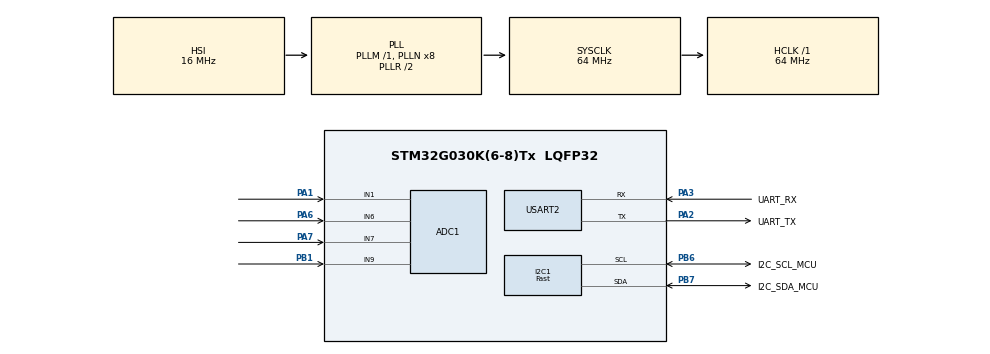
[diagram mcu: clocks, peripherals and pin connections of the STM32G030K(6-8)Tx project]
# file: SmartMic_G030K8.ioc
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ADC1.Channel-0\#ChannelRegularConversion=ADC_CHANNEL_1
ADC1.Channel-1\#ChannelRegularConversion=ADC_CHANNEL_6
ADC1.Channel-2\#ChannelRegularConversion=ADC_CHANNEL_7
ADC1.Channel-3\#ChannelRegularConversion=ADC_CHANNEL_9
ADC1.ClockPrescaler=ADC_CLOCK_ASYNC_DIV10
ADC1.ContinuousConvMode=ENABLE
ADC1.DMAContinuousRequests=ENABLE
ADC1.ExternalTrigConv=ADC_SOFTWARE_START
ADC1.ExternalTrigConvEdge=ADC_EXTERNALTRIGCONVEDGE_NONE
ADC1.LowPowerAutoWait=DISABLE
ADC1.NbrOfConversion=4
ADC1.NbrOfConversionFlag=1
ADC1.Rank-0\#ChannelRegularConversion=1
ADC1.Rank-1\#ChannelRegularConversion=2
ADC1.Rank-2\#ChannelRegularConversion=3
ADC1.Rank-3\#ChannelRegularConversion=4
ADC1.SamplingTime-0\#ChannelRegularConversion=ADC_SAMPLINGTIME_COMMON_1
ADC1.SamplingTime-1\#ChannelRegularConversion=ADC_SAMPLINGTIME_COMMON_1
ADC1.SamplingTime-2\#ChannelRegularConversion=ADC_SAMPLINGTIME_COMMON_1
ADC1.SamplingTime-3\#ChannelRegularConversion=ADC_SAMPLINGTIME_COMMON_1
ADC1.SelectedChannel=ADC_CHANNEL_1|ADC_CHANNEL_6|ADC_CHANNEL_7|ADC_CHANNEL_9
ADC1.master=1
Dma.ADC1.0.Direction=DMA_PERIPH_TO_MEMORY
Dma.ADC1.0.EventEnable=DISABLE
Dma.ADC1.0.Instance=DMA1_Channel1
Dma.ADC1.0.MemDataAlignment=DMA_MDATAALIGN_WORD
Dma.ADC1.0.MemInc=DMA_MINC_ENABLE
Dma.ADC1.0.Mode=DMA_CIRCULAR
Dma.ADC1.0.PeriphDataAlignment=DMA_PDATAALIGN_WORD
Dma.ADC1.0.PeriphInc=DMA_PINC_DISABLE
Dma.ADC1.0.Polarity=HAL_DMAMUX_REQ_GEN_RISING
Dma.ADC1.0.Priority=DMA_PRIORITY_LOW
Dma.ADC1.0.RequestNumber=1
Dma.ADC1.0.SignalID=NONE
Dma.ADC1.0.SyncEnable=DISABLE
Dma.ADC1.0.SyncPolarity=HAL_DMAMUX_SYNC_NO_EVENT
Dma.ADC1.0.SyncRequestNumber=1
Dma.ADC1.0.SyncSignalID=NONE
Dma.Request0=ADC1
I2C1.I2C_Speed_Mode=I2C_Fast
I2C1.Timing=0x00602173
Mcu.Family=STM32G0
Mcu.Name=STM32G030K(6-8)Tx
Mcu.Package=LQFP32
NVIC.DMA1_Channel1_IRQn=true\:0\:0\:false\:false\:true\:false\:true
NVIC.RCC_IRQn=true\:0\:0\:false\:false\:true\:true\:false
NVIC.TIM1_BRK_UP_TRG_COM_IRQn=true\:0\:0\:false\:false\:true\:true\:true
NVIC.USART2_IRQn=true\:0\:0\:false\:false\:true\:true\:true
PA1.Mode=IN1
PA1.Signal=ADC1_IN1
PA2.GPIO_Label=UART_TX
PA2.GPIO_PuPd=GPIO_PULLUP
PA2.GPIO_Speed=GPIO_SPEED_FREQ_VERY_HIGH
PA2.Mode=Asynchronous
PA2.PinState=GPIO_PIN_SET
PA2.Signal=USART2_TX
PA3.GPIO_Label=UART_RX
PA3.GPIO_PuPd=GPIO_PULLUP
PA3.GPIO_Speed=GPIO_SPEED_FREQ_VERY_HIGH
PA3.Mode=Asynchronous
PA3.PinState=GPIO_PIN_SET
PA3.Signal=USART2_RX
PA6.Mode=IN6
PA6.Signal=ADC1_IN6
PA7.Mode=IN7
PA7.Signal=ADC1_IN7
PB1.Mode=IN9
PB1.Signal=ADC1_IN9
PB6.GPIO_Label=I2C_SCL_MCU
PB6.Mode=I2C
PB6.Signal=I2C1_SCL
PB7.GPIO_Label=I2C_SDA_MCU
PB7.Mode=I2C
PB7.Signal=I2C1_SDA
ProjectManager.HeapSize=0x200
ProjectManager.StackSize=0x400
ProjectManager.TargetToolchain=STM32CubeIDE
RCC.ADCFreq_Value=64000000
RCC.AHBFreq_Value=64000000
RCC.CortexFreq_Value=64000000
RCC.EXTERNAL_CLOCK_VALUE=12288000
RCC.HCLKFreq_Value=64000000
RCC.HSE_VALUE=8000000
RCC.HSI_VALUE=16000000
RCC.LSE_VALUE=32768
RCC.SYSCLKFreq_VALUE=64000000
RCC.SYSCLKSource=RCC_SYSCLKSOURCE_PLLCLK
RCC.VCOOutputFreq_Value=128000000
TIM1.AutoReloadPreload=TIM_AUTORELOAD_PRELOAD_ENABLE
TIM1.Period=50
TIM1.Prescaler=64
USART2.VirtualMode-Asynchronous=VM_ASYNC
VP_TIM1_VS_ClockSourceINT.Mode=Internal
board=custom

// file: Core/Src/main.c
/* USER CODE BEGIN Header */
/**
  ******************************************************************************
  * @file           : main.c
  * @brief          : Main program body
  ******************************************************************************
  * @attention
  *
  * <h2><center>&copy; Copyright (c) 2021 STMicroelectronics.
  * All rights reserved.</center></h2>
  *
  * This software component is licensed by ST under BSD 3-Clause license,
  * the "License"; You may not use this file except in compliance with the
  * License. You may obtain a copy of the License at:
  *                        opensource.org/licenses/BSD-3-Clause
  *
  ******************************************************************************
  */
/* USER CODE END Header */
#include "main.h"

/* USER CODE BEGIN Includes */
#include <stdlib.h>
#include <stdio.h>
#include <string.h>
#include <math.h>

#include "IS31FL3237.h"

/* USER CODE END Includes */

/* USER CODE BEGIN PTD */
typedef union {
    unsigned char u8Byte;
    struct{
        unsigned bit0:1;
        unsigned bit1:1;
        unsigned bit2:1;
        unsigned bit3:1;
        unsigned bit4:1;
        unsigned bit5:1;
        unsigned bit6:1;
        unsigned bit7:1;
    } sb;
} xu_flag;

/* USER CODE END PTD */

ADC_HandleTypeDef hadc1;
DMA_HandleTypeDef hdma_adc1;
I2C_HandleTypeDef hi2c1;
TIM_HandleTypeDef htim1;
UART_HandleTypeDef huart2;

/* USER CODE BEGIN PV */
uint8_t Rx_Data_GetCMD_flag = {0},
        Rx_Data_cnt         = {0},
        Rx_Data[256]        = {0},
        Getchar[1]          = {0};

unsigned char isSW5_Headphone_button_Mute = 0;
unsigned char SW6_Pattern_button_ID       = 0;
unsigned char SW2_Preset_button_ID        = 0;

/* USER CODE END PV */

void SystemClock_Config(void);
static void MX_GPIO_Init(void);
static void MX_DMA_Init(void);
static void MX_ADC1_Init(void);
static void MX_USART2_UART_Init(void);
static void MX_I2C1_Init(void);
static void MX_TIM1_Init(void);
/* USER CODE BEGIN PFP */
void Polling_Task_1ms(void);
void Polling_Task_10ms(void);
void Polling_Task_50ms(void);
void Polling_Task_100ms(void);
void Polling_Task_1s(void);
void Task_ButtonGroup(void);
void VR1_PreGain(void);
void VR2_Microphone(void);
void VR3_Mix(void);
void VR4_Headphone(void);
void Task_Preset_LED_GPIO(void);
unsigned char Task_Button(void);

/* USER CODE END PFP */

/* USER CODE BEGIN 0 */
unsigned char u8PresetLED = {0};

extern __IO uint32_t uwTick;
uint32_t             uwTick_Private;
unsigned short       uwTick_10ms  = 0;
unsigned short       uwTick_50ms  = 0;
unsigned short       uwTick_100ms = 0;
unsigned short       uwTick_1s    = 0;

uint32_t ADC_ConvertedValue[4] = {0};
#define  tor    8
#define  s0   372
#define  s1   745
#define  s2   1117
#define  s3   1489
#define  s4   1861
#define  s5   2234
#define  s6   2606
#define  s7   2978
#define  s8   3350
#define  s9   3723
#define ADC_A  ADC_ConvertedValue[0]
#define ADC_B  ADC_ConvertedValue[1]
#define ADC_C  ADC_ConvertedValue[2]
#define ADC_D  ADC_ConvertedValue[3]

/* USER CODE END 0 */

int main(void)
{

  /* MCU Configuration--------------------------------------------------------*/

  /* Reset of all peripherals, Initializes the Flash interface and the Systick. */
  HAL_Init();

  /* Configure the system clock */
  SystemClock_Config();

  /* Initialize all configured peripherals */
  MX_GPIO_Init();
  MX_DMA_Init();
  MX_ADC1_Init();
  MX_USART2_UART_Init();
  MX_I2C1_Init();
  MX_TIM1_Init();
  /* USER CODE BEGIN 2 */
  HAL_ADC_Start_DMA(&hadc1, ADC_ConvertedValue, 4);
  Hal_LED_Driver_Initial();

  //Init SW3/SW4 LED and LED9
  if(1) {
      u8PresetLED = 1;

      LED9        = signle_LED_rgb_G;

      SW3_LED21   = signle_LED_rgb_G;
      SW3_LED19   = signle_LED_rgb_G;
      SW3_LED20   = signle_LED_rgb_G;

      SW4_LED18   = signle_LED_rgb_G;
      SW4_LED16   = signle_LED_rgb_G;
      SW4_LED15   = signle_LED_rgb_G;
  }

  printf("Init Done\r\n");
  /* USER CODE END 2 */

  /* Infinite loop */
  /* USER CODE BEGIN WHILE */
  while (1)
  {
      //Follow systick 1ms
      if(uwTick_Private != uwTick) {
          uwTick_Private++;

          Polling_Task_1ms();

          uwTick_10ms++;
          if(uwTick_10ms>=10) {
              uwTick_10ms = 0;

              Polling_Task_10ms();
          }

          uwTick_50ms++;
          if(uwTick_50ms>=50) {
              uwTick_50ms = 0;

              Polling_Task_50ms();
          }

          uwTick_100ms++;
          if(uwTick_100ms>=100) {
              uwTick_100ms = 0;

              Polling_Task_100ms();
          }

          uwTick_1s++;
          if(uwTick_1s>=1000) {
              uwTick_1s = 0;

              Polling_Task_1s();
          }

      }
    /* USER CODE END WHILE */

  }
}

void SystemClock_Config(void)
{
  RCC_OscInitTypeDef RCC_OscInitStruct = {0};
  RCC_ClkInitTypeDef RCC_ClkInitStruct = {0};
  RCC_PeriphCLKInitTypeDef PeriphClkInit = {0};

  /** Configure the main internal regulator output voltage
  */
  HAL_PWREx_ControlVoltageScaling(PWR_REGULATOR_VOLTAGE_SCALE1);
  /** Initializes the RCC Oscillators according to the specified parameters
  * in the RCC_OscInitTypeDef structure.
  */
  RCC_OscInitStruct.OscillatorType = RCC_OSCILLATORTYPE_HSI;
  RCC_OscInitStruct.HSIState = RCC_HSI_ON;
  RCC_OscInitStruct.HSIDiv = RCC_HSI_DIV1;
  RCC_OscInitStruct.HSICalibrationValue = RCC_HSICALIBRATION_DEFAULT;
  RCC_OscInitStruct.PLL.PLLState = RCC_PLL_ON;
  RCC_OscInitStruct.PLL.PLLSource = RCC_PLLSOURCE_HSI;
  RCC_OscInitStruct.PLL.PLLM = RCC_PLLM_DIV1;
  RCC_OscInitStruct.PLL.PLLN = 8;
  RCC_OscInitStruct.PLL.PLLP = RCC_PLLP_DIV2;
  RCC_OscInitStruct.PLL.PLLR = RCC_PLLR_DIV2;
  if (HAL_RCC_OscConfig(&RCC_OscInitStruct) != HAL_OK)
  {
    Error_Handler();
  }
  /** Initializes the CPU, AHB and APB buses clocks
  */
  RCC_ClkInitStruct.ClockType = RCC_CLOCKTYPE_HCLK|RCC_CLOCKTYPE_SYSCLK
                              |RCC_CLOCKTYPE_PCLK1;
  RCC_ClkInitStruct.SYSCLKSource = RCC_SYSCLKSOURCE_PLLCLK;
  RCC_ClkInitStruct.AHBCLKDivider = RCC_SYSCLK_DIV1;
  RCC_ClkInitStruct.APB1CLKDivider = RCC_HCLK_DIV1;

  if (HAL_RCC_ClockConfig(&RCC_ClkInitStruct, FLASH_LATENCY_2) != HAL_OK)
  {
    Error_Handler();
  }
  /** Initializes the peripherals clocks
  */
  PeriphClkInit.PeriphClockSelection = RCC_PERIPHCLK_I2C1|RCC_PERIPHCLK_ADC;
  PeriphClkInit.I2c1ClockSelection = RCC_I2C1CLKSOURCE_PCLK1;
  PeriphClkInit.AdcClockSelection = RCC_ADCCLKSOURCE_SYSCLK;
  if (HAL_RCCEx_PeriphCLKConfig(&PeriphClkInit) != HAL_OK)
  {
    Error_Handler();
  }
}

static void MX_ADC1_Init(void)
{

  ADC_ChannelConfTypeDef sConfig = {0};

  /** Configure the global features of the ADC (Clock, Resolution, Data Alignment and number of conversion)
  */
  hadc1.Instance = ADC1;
  hadc1.Init.ClockPrescaler = ADC_CLOCK_ASYNC_DIV10;
  hadc1.Init.Resolution = ADC_RESOLUTION_12B;
  hadc1.Init.DataAlign = ADC_DATAALIGN_RIGHT;
  hadc1.Init.ScanConvMode = ADC_SCAN_ENABLE;
  hadc1.Init.EOCSelection = ADC_EOC_SINGLE_CONV;
  hadc1.Init.LowPowerAutoWait = DISABLE;
  hadc1.Init.LowPowerAutoPowerOff = DISABLE;
  hadc1.Init.ContinuousConvMode = ENABLE;
  hadc1.Init.NbrOfConversion = 4;
  hadc1.Init.DiscontinuousConvMode = DISABLE;
  hadc1.Init.ExternalTrigConv = ADC_SOFTWARE_START;
  hadc1.Init.ExternalTrigConvEdge = ADC_EXTERNALTRIGCONVEDGE_NONE;
  hadc1.Init.DMAContinuousRequests = ENABLE;
  hadc1.Init.Overrun = ADC_OVR_DATA_PRESERVED;
  hadc1.Init.SamplingTimeCommon1 = ADC_SAMPLETIME_1CYCLE_5;
  hadc1.Init.SamplingTimeCommon2 = ADC_SAMPLETIME_1CYCLE_5;
  hadc1.Init.OversamplingMode = DISABLE;
  hadc1.Init.TriggerFrequencyMode = ADC_TRIGGER_FREQ_HIGH;
  if (HAL_ADC_Init(&hadc1) != HAL_OK)
  {
    Error_Handler();
  }
  /** Configure Regular Channel
  */
  sConfig.Channel = ADC_CHANNEL_1;
  sConfig.Rank = ADC_REGULAR_RANK_1;
  sConfig.SamplingTime = ADC_SAMPLINGTIME_COMMON_1;
  if (HAL_ADC_ConfigChannel(&hadc1, &sConfig) != HAL_OK)
  {
    Error_Handler();
  }
  /** Configure Regular Channel
  */
  sConfig.Channel = ADC_CHANNEL_6;
  sConfig.Rank = ADC_REGULAR_RANK_2;
  if (HAL_ADC_ConfigChannel(&hadc1, &sConfig) != HAL_OK)
  {
    Error_Handler();
  }
  /** Configure Regular Channel
  */
  sConfig.Channel = ADC_CHANNEL_7;
  sConfig.Rank = ADC_REGULAR_RANK_3;
  if (HAL_ADC_ConfigChannel(&hadc1, &sConfig) != HAL_OK)
  {
    Error_Handler();
  }
  /** Configure Regular Channel
  */
  sConfig.Channel = ADC_CHANNEL_9;
  sConfig.Rank = ADC_REGULAR_RANK_4;
  if (HAL_ADC_ConfigChannel(&hadc1, &sConfig) != HAL_OK)
  {
    Error_Handler();
  }

}

static void MX_I2C1_Init(void)
{

  hi2c1.Instance = I2C1;
  hi2c1.Init.Timing = 0x00602173;
  hi2c1.Init.OwnAddress1 = 0;
  hi2c1.Init.AddressingMode = I2C_ADDRESSINGMODE_7BIT;
  hi2c1.Init.DualAddressMode = I2C_DUALADDRESS_DISABLE;
  hi2c1.Init.OwnAddress2 = 0;
  hi2c1.Init.OwnAddress2Masks = I2C_OA2_NOMASK;
  hi2c1.Init.GeneralCallMode = I2C_GENERALCALL_DISABLE;
  hi2c1.Init.NoStretchMode = I2C_NOSTRETCH_DISABLE;
  if (HAL_I2C_Init(&hi2c1) != HAL_OK)
  {
    Error_Handler();
  }
  /** Configure Analogue filter
  */
  if (HAL_I2CEx_ConfigAnalogFilter(&hi2c1, I2C_ANALOGFILTER_ENABLE) != HAL_OK)
  {
    Error_Handler();
  }
  /** Configure Digital filter
  */
  if (HAL_I2CEx_ConfigDigitalFilter(&hi2c1, 0) != HAL_OK)
  {
    Error_Handler();
  }

}

static void MX_TIM1_Init(void)
{

  TIM_ClockConfigTypeDef sClockSourceConfig = {0};
  TIM_MasterConfigTypeDef sMasterConfig = {0};

  /* USER CODE BEGIN TIM1_Init 1 */

  /*
   * Target to : 64MHz / (64x50) = 20,000 Hz
   * Actually : 64MHz / ( (64+1) x (50+1) ) = 19,306.2 Hz
   */

  /* USER CODE END TIM1_Init 1 */
  htim1.Instance = TIM1;
  htim1.Init.Prescaler = 64;
  htim1.Init.CounterMode = TIM_COUNTERMODE_UP;
  htim1.Init.Period = 50;
  htim1.Init.ClockDivision = TIM_CLOCKDIVISION_DIV1;
  htim1.Init.RepetitionCounter = 0;
  htim1.Init.AutoReloadPreload = TIM_AUTORELOAD_PRELOAD_ENABLE;
  if (HAL_TIM_Base_Init(&htim1) != HAL_OK)
  {
    Error_Handler();
  }
  sClockSourceConfig.ClockSource = TIM_CLOCKSOURCE_INTERNAL;
  if (HAL_TIM_ConfigClockSource(&htim1, &sClockSourceConfig) != HAL_OK)
  {
    Error_Handler();
  }
  sMasterConfig.MasterOutputTrigger = TIM_TRGO_RESET;
  sMasterConfig.MasterOutputTrigger2 = TIM_TRGO2_RESET;
  sMasterConfig.MasterSlaveMode = TIM_MASTERSLAVEMODE_DISABLE;
  if (HAL_TIMEx_MasterConfigSynchronization(&htim1, &sMasterConfig) != HAL_OK)
  {
    Error_Handler();
  }
  /* USER CODE BEGIN TIM1_Init 2 */
  HAL_TIM_Base_Start_IT(&htim1);
  /* USER CODE END TIM1_Init 2 */

}

static void MX_USART2_UART_Init(void)
{

  huart2.Instance = USART2;
  huart2.Init.BaudRate = 115200;
  huart2.Init.WordLength = UART_WORDLENGTH_8B;
  huart2.Init.StopBits = UART_STOPBITS_1;
  huart2.Init.Parity = UART_PARITY_NONE;
  huart2.Init.Mode = UART_MODE_TX_RX;
  huart2.Init.HwFlowCtl = UART_HWCONTROL_NONE;
  huart2.Init.OverSampling = UART_OVERSAMPLING_16;
  huart2.Init.OneBitSampling = UART_ONE_BIT_SAMPLE_DISABLE;
  huart2.Init.ClockPrescaler = UART_PRESCALER_DIV1;
  huart2.AdvancedInit.AdvFeatureInit = UART_ADVFEATURE_NO_INIT;
  if (HAL_UART_Init(&huart2) != HAL_OK)
  {
    Error_Handler();
  }
  /* USER CODE BEGIN USART2_Init 2 */
  HAL_UART_Receive_IT(&huart2, Getchar, 1);
  /* USER CODE END USART2_Init 2 */

}

static void MX_DMA_Init(void)
{

  /* DMA controller clock enable */
  __HAL_RCC_DMA1_CLK_ENABLE();

  /* DMA interrupt init */
  /* DMA1_Channel1_IRQn interrupt configuration */
  HAL_NVIC_SetPriority(DMA1_Channel1_IRQn, 0, 0);
  HAL_NVIC_EnableIRQ(DMA1_Channel1_IRQn);

}

static void MX_GPIO_Init(void)
{
    GPIO_InitTypeDef GPIO_InitStruct = {0};

    if(1) {  //I2C LED Driver EN-GPIO
        #define ON  GPIO_PIN_SET
        #define OFF GPIO_PIN_RESET

        #define IS31FL3237_EN      GPIOA,GPIO_PIN_10
        #define IS31FL3237_EN_port GPIOA
        #define IS31FL3237_EN_pin  GPIO_PIN_10

        /* GPIO Ports Clock Enable */
        __HAL_RCC_GPIOA_CLK_ENABLE();
        __HAL_RCC_GPIOB_CLK_ENABLE();

        /* Configure GPIO pin */
        GPIO_InitStruct.Mode  = GPIO_MODE_OUTPUT_PP;
        GPIO_InitStruct.Pull  = GPIO_NOPULL;
        GPIO_InitStruct.Speed = GPIO_SPEED_FREQ_VERY_HIGH;

        /* Configure LED GPIO pin */
        GPIO_InitStruct.Pin = IS31FL3237_EN_pin; HAL_GPIO_Init(IS31FL3237_EN_port, &GPIO_InitStruct);

        /* Configure GPIO pin Output Level */
        HAL_GPIO_WritePin(IS31FL3237_EN, ON);
    }

    if(1) {
        #define ON  GPIO_PIN_SET
        #define OFF GPIO_PIN_RESET

        #define Preset_LED01      GPIOA,GPIO_PIN_4
        #define Preset_LED01_port GPIOA
        #define Preset_LED01_pin  GPIO_PIN_4

        #define Preset_LED02      GPIOA,GPIO_PIN_5
        #define Preset_LED02_port GPIOA
        #define Preset_LED02_pin  GPIO_PIN_5

        #define Preset_LED03      GPIOA,GPIO_PIN_11
        #define Preset_LED03_port GPIOA
        #define Preset_LED03_pin  GPIO_PIN_11

        #define Preset_LED04      GPIOA,GPIO_PIN_12
        #define Preset_LED04_port GPIOA
        #define Preset_LED04_pin  GPIO_PIN_12

        #define Preset_LED05      GPIOA,GPIO_PIN_15
        #define Preset_LED05_port GPIOA
        #define Preset_LED05_pin  GPIO_PIN_15

        #define Preset_LED06      GPIOB,GPIO_PIN_8
        #define Preset_LED06_port GPIOB
        #define Preset_LED06_pin  GPIO_PIN_8

        #define Preset_LED07      GPIOB,GPIO_PIN_9
        #define Preset_LED07_port GPIOB
        #define Preset_LED07_pin  GPIO_PIN_9

        #define Preset_LED08      GPIOA,GPIO_PIN_0
        #define Preset_LED08_port GPIOA
        #define Preset_LED08_pin  GPIO_PIN_0

        /* GPIO Ports Clock Enable */
        __HAL_RCC_GPIOA_CLK_ENABLE();
        __HAL_RCC_GPIOB_CLK_ENABLE();

        /* Configure GPIO pin */
        GPIO_InitStruct.Mode  = GPIO_MODE_OUTPUT_PP;
        GPIO_InitStruct.Pull  = GPIO_NOPULL;
        GPIO_InitStruct.Speed = GPIO_SPEED_FREQ_VERY_HIGH;

        /* Configure LED GPIO pin */
        GPIO_InitStruct.Pin = Preset_LED01_pin; HAL_GPIO_Init(Preset_LED01_port, &GPIO_InitStruct);
        GPIO_InitStruct.Pin = Preset_LED02_pin; HAL_GPIO_Init(Preset_LED02_port, &GPIO_InitStruct);
        GPIO_InitStruct.Pin = Preset_LED03_pin; HAL_GPIO_Init(Preset_LED03_port, &GPIO_InitStruct);
        GPIO_InitStruct.Pin = Preset_LED04_pin; HAL_GPIO_Init(Preset_LED04_port, &GPIO_InitStruct);
        GPIO_InitStruct.Pin = Preset_LED05_pin; HAL_GPIO_Init(Preset_LED05_port, &GPIO_InitStruct);
        GPIO_InitStruct.Pin = Preset_LED06_pin; HAL_GPIO_Init(Preset_LED06_port, &GPIO_InitStruct);
        GPIO_InitStruct.Pin = Preset_LED07_pin; HAL_GPIO_Init(Preset_LED07_port, &GPIO_InitStruct);
        GPIO_InitStruct.Pin = Preset_LED08_pin; HAL_GPIO_Init(Preset_LED08_port, &GPIO_InitStruct);

        /* Configure GPIO pin Output Level */
        HAL_GPIO_WritePin(Preset_LED01, OFF);
        HAL_GPIO_WritePin(Preset_LED02, OFF);
        HAL_GPIO_WritePin(Preset_LED03, OFF);
        HAL_GPIO_WritePin(Preset_LED04, OFF);
        HAL_GPIO_WritePin(Preset_LED05, OFF);
        HAL_GPIO_WritePin(Preset_LED06, OFF);
        HAL_GPIO_WritePin(Preset_LED07, OFF);
        HAL_GPIO_WritePin(Preset_LED08, OFF);
    }

    if(1) {
        #define Presets_Switch       GPIOC,GPIO_PIN_14
        #define Presets_Switch_port  GPIOC
        #define Presets_Switch_pin   GPIO_PIN_14

        #define Pattern_Switch       GPIOC,GPIO_PIN_6
        #define Pattern_Switch_port  GPIOC
        #define Pattern_Switch_pin   GPIO_PIN_6

        #define Headphone_Mute       GPIOA,GPIO_PIN_9
        #define Headphone_Mute_port  GPIOA
        #define Headphone_Mute_pin   GPIO_PIN_9

        #define Mix_Mute             GPIOA,GPIO_PIN_8
        #define Mix_Mute_port        GPIOA
        #define Mix_Mute_pin         GPIO_PIN_8

        #define Mic_Mute             GPIOB,GPIO_PIN_2
        #define Mic_Mute_port        GPIOB
        #define Mic_Mute_pin         GPIO_PIN_2

        /* GPIO Ports Clock Enable */
        __HAL_RCC_GPIOA_CLK_ENABLE();
        __HAL_RCC_GPIOB_CLK_ENABLE();
        __HAL_RCC_GPIOC_CLK_ENABLE();

        /* Configure Button pin */
        GPIO_InitStruct.Mode  = GPIO_MODE_INPUT;
        GPIO_InitStruct.Pull  = GPIO_NOPULL;
        GPIO_InitStruct.Speed = GPIO_SPEED_FREQ_VERY_HIGH;

        /*Configure GPIO pin : Mic_Mute_Pin */
        GPIO_InitStruct.Pin  = Presets_Switch_pin; HAL_GPIO_Init(Presets_Switch_port, &GPIO_InitStruct);
        GPIO_InitStruct.Pin  = Pattern_Switch_pin; HAL_GPIO_Init(Pattern_Switch_port, &GPIO_InitStruct);
        GPIO_InitStruct.Pin  = Headphone_Mute_pin; HAL_GPIO_Init(Headphone_Mute_port, &GPIO_InitStruct);
        GPIO_InitStruct.Pin  = Mix_Mute_pin;       HAL_GPIO_Init(Mix_Mute_port,       &GPIO_InitStruct);
        GPIO_InitStruct.Pin  = Mic_Mute_pin;       HAL_GPIO_Init(Mic_Mute_port,       &GPIO_InitStruct);

        /* Configure GPIO pin */
        GPIO_InitStruct.Mode  = GPIO_MODE_OUTPUT_PP;
        GPIO_InitStruct.Pull  = GPIO_NOPULL;
        GPIO_InitStruct.Speed = GPIO_SPEED_FREQ_VERY_HIGH;

        /* Configure LED GPIO pin */
        GPIO_InitStruct.Pin = Preset_LED01_pin; HAL_GPIO_Init(Preset_LED01_port, &GPIO_InitStruct);
        GPIO_InitStruct.Pin = Preset_LED02_pin; HAL_GPIO_Init(Preset_LED02_port, &GPIO_InitStruct);
        GPIO_InitStruct.Pin = Preset_LED03_pin; HAL_GPIO_Init(Preset_LED03_port, &GPIO_InitStruct);
        GPIO_InitStruct.Pin = Preset_LED04_pin; HAL_GPIO_Init(Preset_LED04_port, &GPIO_InitStruct);
        GPIO_InitStruct.Pin = Preset_LED05_pin; HAL_GPIO_Init(Preset_LED05_port, &GPIO_InitStruct);
    }
}

/* USER CODE BEGIN 4 */
void Polling_Task_1ms(void) {
    //Execute per 1ms
    if(1) {
        static uint8_t Rx_Data_cnt_Private = {0};
        if(Rx_Data_cnt_Private != Rx_Data_cnt) {

            //printf("%c", Rx_Data[Rx_Data_cnt_Private]);
            HAL_UART_Transmit(&huart2, (uint8_t *)&Rx_Data[Rx_Data_cnt_Private], 1, 0xFFFFFFFF);
            HAL_UART_Receive_IT(&huart2, Getchar, 1);

            switch(Rx_Data[Rx_Data_cnt_Private++]) {
                case '\r':
                case '\n':
                case '\a':
                case '\t':
                    Rx_Data_GetCMD_flag = 1;
                    break;

                default:
                    break;
            }
        }
    }
}

void Polling_Task_10ms(void) {
    Task_LED_Driver();
    Task_ButtonGroup();
    Task_Preset_LED_GPIO();
}

void Polling_Task_50ms(void) {

}

void Polling_Task_100ms(void) {
    if(SW6_Pattern_button_ID) {

    } else {
        VR1_PreGain();
    }

    VR2_Microphone();
    VR3_Mix();

    if(isSW5_Headphone_button_Mute) {

    } else {
        VR4_Headphone();
    }
}

void Polling_Task_1s(void) {
    printf("DMA-ADC:%ld,%ld,%ld,%ld\r\n", ADC_A, ADC_B, ADC_C, ADC_D);
}

void Task_ButtonGroup(void) {
    static unsigned char btnCNT[5] = {0};
    unsigned char Task_Button_temp = Task_Button();
    static const unsigned char ExecuteBTNevent  = 10,
                               HoldOnExecuteBTN = 11;

    if(Task_Button_temp & 0x01) {
        if(btnCNT[0]==ExecuteBTNevent) {
            btnCNT[0]=HoldOnExecuteBTN;

            //Get SW2 Preset button event
            SW2_Preset_button_ID++;
            if(SW2_Preset_button_ID>=8) {
                SW2_Preset_button_ID = 0;
            }
            u8PresetLED = 1<<SW2_Preset_button_ID;

        } else if(btnCNT[0]==HoldOnExecuteBTN) {
            //Don't do anything
        } else {
            btnCNT[0]++;
        }
    } else {
        btnCNT[0] = 0;
    }

    if(Task_Button_temp & 0x02) {
        if(btnCNT[1]==ExecuteBTNevent) {
            btnCNT[1]=HoldOnExecuteBTN;

            //Get SW6 Pattern button event
            SW6_Pattern_button_ID++;
            if(SW6_Pattern_button_ID>=11) {
                SW6_Pattern_button_ID = 0;
            }
            switch(SW6_Pattern_button_ID) {
                default:
                case  0:  /* Don't do anything */                                                                  break;

                case  1: SW6_LED12 = signle_LED_rgb_R; SW6_LED10 = 0;                SW6_LED11 = 0;                break;
                case  2: SW6_LED12 = 0;                SW6_LED10 = signle_LED_rgb_R; SW6_LED11 = 0;                break;
                case  3: SW6_LED12 = 0;                SW6_LED10 = 0;                SW6_LED11 = signle_LED_rgb_R; break;

                case  4: SW6_LED12 = signle_LED_rgb_G; SW6_LED10 = 0;                SW6_LED11 = 0;                break;
                case  5: SW6_LED12 = 0;                SW6_LED10 = signle_LED_rgb_G; SW6_LED11 = 0;                break;
                case  6: SW6_LED12 = 0;                SW6_LED10 = 0;                SW6_LED11 = signle_LED_rgb_G; break;

                case  7: SW6_LED12 = signle_LED_rgb_B; SW6_LED10 = 0;                SW6_LED11 = 0;                break;
                case  8: SW6_LED12 = 0;                SW6_LED10 = signle_LED_rgb_B; SW6_LED11 = 0;                break;
                case  9: SW6_LED12 = 0;                SW6_LED10 = 0;                SW6_LED11 = signle_LED_rgb_B; break;

                case 10: SW6_LED12 = 0;                SW6_LED10 = 0;                SW6_LED11 = 0;                break;
            }

            //Check LED9
            switch(LED9) {
                default:
                case 0:                LED9 = signle_LED_rgb_R; break;
                case signle_LED_rgb_R: LED9 = signle_LED_rgb_G; break;
                case signle_LED_rgb_G: LED9 = signle_LED_rgb_B; break;
                case signle_LED_rgb_B: LED9 = 0;                break;
            }

        } else if(btnCNT[1]==HoldOnExecuteBTN) {
            //Don't do anything
        } else {
            btnCNT[1]++;
        }
    } else {
        btnCNT[1] = 0;
    }

    if(Task_Button_temp & 0x04) {
        if(btnCNT[2]==ExecuteBTNevent) {
            btnCNT[2]=HoldOnExecuteBTN;

            //Get SW5 Headphone button event
            isSW5_Headphone_button_Mute^=1;
            if(isSW5_Headphone_button_Mute) {
                SW5_LED17 = signle_LED_rgb_R;
                SW5_LED13 = signle_LED_rgb_R;
                SW5_LED14 = signle_LED_rgb_R;
            }

        } else if(btnCNT[2]==HoldOnExecuteBTN) {
            //Don't do anything
        } else {
            btnCNT[2]++;
        }
    } else {
        btnCNT[2] = 0;
    }

    if(Task_Button_temp & 0x08) {
        if(btnCNT[3]==ExecuteBTNevent) {
            btnCNT[3]=HoldOnExecuteBTN;

            //Get SW4 MIX button event
            static char LED_Toggle = 0;
            LED_Toggle^=1;
            if(LED_Toggle) {
                SW4_LED18 = signle_LED_rgb_R;
                SW4_LED16 = signle_LED_rgb_R;
                SW4_LED15 = signle_LED_rgb_R;
            } else {
                SW4_LED18 = signle_LED_rgb_G;
                SW4_LED16 = signle_LED_rgb_G;
                SW4_LED15 = signle_LED_rgb_G;
            }

        } else if(btnCNT[3]==HoldOnExecuteBTN) {
            //Don't do anything
        } else {
            btnCNT[3]++;
        }
    } else {
        btnCNT[3] = 0;
    }

    if(Task_Button_temp & 0x10) {
        if(btnCNT[4]==ExecuteBTNevent) {
            btnCNT[4]=HoldOnExecuteBTN;

            //Get SW3 MIC button event
            static char LED_Toggle = 0;
            LED_Toggle^=1;
            if(LED_Toggle) {
                SW3_LED21 = signle_LED_rgb_R;
                SW3_LED19 = signle_LED_rgb_R;
                SW3_LED20 = signle_LED_rgb_R;
            } else {
                SW3_LED21 = signle_LED_rgb_G;
                SW3_LED19 = signle_LED_rgb_G;
                SW3_LED20 = signle_LED_rgb_G;
            }

        } else if(btnCNT[4]==HoldOnExecuteBTN) {
            //Don't do anything
        } else {
            btnCNT[4]++;
        }
    } else {
        btnCNT[4] = 0;
    }
}

void VR1_PreGain(void) {
    static uint32_t PG_VR = 0;
    PG_VR = (PG_VR*3 + ADC_B*7)/10;

           if(                  PG_VR<=s0-tor) {
        //Seg 0
        SW6_LED11 = signle_LED_rgb_R;
        SW6_LED10 = signle_LED_rgb_R;
        SW6_LED12 = signle_LED_rgb_R;
    } else if(s0+tor<=PG_VR && PG_VR<=s1-tor) {
        //Seg 1
        SW6_LED11 = signle_LED_rgb_R + signle_LED_rgb_G;
        SW6_LED10 = signle_LED_rgb_R;
        SW6_LED12 = signle_LED_rgb_R;
    } else if(s1+tor<=PG_VR && PG_VR<=s2-tor) {
        //Seg 2
        SW6_LED11 = signle_LED_rgb_G;
        SW6_LED10 = signle_LED_rgb_R + signle_LED_rgb_G;
        SW6_LED12 = signle_LED_rgb_R;
    } else if(s2+tor<=PG_VR && PG_VR<=s3-tor) {
        //Seg 3
        SW6_LED11 = signle_LED_rgb_G;
        SW6_LED10 = signle_LED_rgb_G;
        SW6_LED12 = signle_LED_rgb_R + signle_LED_rgb_G;
    } else if(s3+tor<=PG_VR && PG_VR<=s4-tor) {
        //Seg 4
        SW6_LED11 = signle_LED_rgb_G;
        SW6_LED10 = signle_LED_rgb_G;
        SW6_LED12 = signle_LED_rgb_G;
    } else if(s4+tor<=PG_VR && PG_VR<=s5-tor) {
        //Seg 5
        SW6_LED11 = signle_LED_rgb_G + signle_LED_rgb_B;
        SW6_LED10 = signle_LED_rgb_G;
        SW6_LED12 = signle_LED_rgb_G;
    } else if(s5+tor<=PG_VR && PG_VR<=s6-tor) {
        //Seg 6
        SW6_LED11 = signle_LED_rgb_B;
        SW6_LED10 = signle_LED_rgb_G + signle_LED_rgb_B;
        SW6_LED12 = signle_LED_rgb_G;
    } else if(s6+tor<=PG_VR && PG_VR<=s7-tor) {
        //Seg 7
        SW6_LED11 = signle_LED_rgb_B;
        SW6_LED10 = signle_LED_rgb_B;
        SW6_LED12 = signle_LED_rgb_G + signle_LED_rgb_B;
    } else if(s7+tor<=PG_VR && PG_VR<=s8-tor) {
        //Seg 8
        SW6_LED11 = signle_LED_rgb_B;
        SW6_LED10 = signle_LED_rgb_B;
        SW6_LED12 = signle_LED_rgb_B;
    } else if(s8+tor<=PG_VR && PG_VR<=s9-tor) {
        //Seg 9
        SW6_LED11 = signle_LED_rgb_G + signle_LED_rgb_B;
        SW6_LED10 = signle_LED_rgb_G + signle_LED_rgb_B;
        SW6_LED12 = signle_LED_rgb_G + signle_LED_rgb_B;
    } else if(s9+tor<=PG_VR) {
        //Seg 10
        SW6_LED11 = signle_LED_rgb_R + signle_LED_rgb_G + signle_LED_rgb_B;
        SW6_LED10 = signle_LED_rgb_R + signle_LED_rgb_G + signle_LED_rgb_B;
        SW6_LED12 = signle_LED_rgb_R + signle_LED_rgb_G + signle_LED_rgb_B;
    }
}

void VR2_Microphone(void) {
    static uint32_t Mic_VR = 0;
    Mic_VR = (Mic_VR*3 + ADC_C*7)/10;

           if(                  Mic_VR<=s0-tor) {
        //Seg 0
        arrayLED[1] = 0x000;
    } else if(s0+tor<=Mic_VR && Mic_VR<=s1-tor) {
        //Seg 1
        arrayLED[1] = 0x001;
    } else if(s1+tor<=Mic_VR && Mic_VR<=s2-tor) {
        //Seg 2
        arrayLED[1] = 0x003;
    } else if(s2+tor<=Mic_VR && Mic_VR<=s3-tor) {
        //Seg 3
        arrayLED[1] = 0x007;
    } else if(s3+tor<=Mic_VR && Mic_VR<=s4-tor) {
        //Seg 4
        arrayLED[1] = 0x00F;
    } else if(s4+tor<=Mic_VR && Mic_VR<=s5-tor) {
        //Seg 5
        arrayLED[1] = 0x01F;
    } else if(s5+tor<=Mic_VR && Mic_VR<=s6-tor) {
        //Seg 6
        arrayLED[1] = 0x03F;
    } else if(s6+tor<=Mic_VR && Mic_VR<=s7-tor) {
        //Seg 7
        arrayLED[1] = 0x07F;
    } else if(s7+tor<=Mic_VR && Mic_VR<=s8-tor) {
        //Seg 8
        arrayLED[1] = 0x0FF;
    } else if(s8+tor<=Mic_VR && Mic_VR<=s9-tor) {
        //Seg 9
        arrayLED[1] = 0x1FF;
    } else if(s9+tor<=Mic_VR) {
        //Seg 10
        arrayLED[1] = 0x3FF;
    }
}

void VR3_Mix(void) {
    static uint32_t Mix_VR = 0;
    Mix_VR = (Mix_VR*3 + ADC_A*7)/10;

           if(                  Mix_VR<=s0-tor) {
        //Seg 0
        arrayLED[0] = 0x000;
    } else if(s0+tor<=Mix_VR && Mix_VR<=s1-tor) {
        //Seg 1
        arrayLED[0] = 0x001;
    } else if(s1+tor<=Mix_VR && Mix_VR<=s2-tor) {
        //Seg 2
        arrayLED[0] = 0x003;
    } else if(s2+tor<=Mix_VR && Mix_VR<=s3-tor) {
        //Seg 3
        arrayLED[0] = 0x007;
    } else if(s3+tor<=Mix_VR && Mix_VR<=s4-tor) {
        //Seg 4
        arrayLED[0] = 0x00F;
    } else if(s4+tor<=Mix_VR && Mix_VR<=s5-tor) {
        //Seg 5
        arrayLED[0] = 0x01F;
    } else if(s5+tor<=Mix_VR && Mix_VR<=s6-tor) {
        //Seg 6
        arrayLED[0] = 0x03F;
    } else if(s6+tor<=Mix_VR && Mix_VR<=s7-tor) {
        //Seg 7
        arrayLED[0] = 0x07F;
    } else if(s7+tor<=Mix_VR && Mix_VR<=s8-tor) {
        //Seg 8
        arrayLED[0] = 0x0FF;
    } else if(s8+tor<=Mix_VR && Mix_VR<=s9-tor) {
        //Seg 9
        arrayLED[0] = 0x1FF;
    } else if(s9+tor<=Mix_VR) {
        //Seg 10
        arrayLED[0] = 0x3FF;
    }
}

void VR4_Headphone(void) {
    static uint32_t HP_VR = 0;
    HP_VR = (HP_VR*3 + ADC_D*7)/10;

           if(                  HP_VR<=s0-tor) {
        //Seg 0
        SW5_LED14 = signle_LED_rgb_R;
        SW5_LED13 = signle_LED_rgb_R;
        SW5_LED17 = signle_LED_rgb_R;
    } else if(s0+tor<=HP_VR && HP_VR<=s1-tor) {
        //Seg 1
        SW5_LED14 = signle_LED_rgb_R + signle_LED_rgb_G;
        SW5_LED13 = signle_LED_rgb_R;
        SW5_LED17 = signle_LED_rgb_R;
    } else if(s1+tor<=HP_VR && HP_VR<=s2-tor) {
        //Seg 2
        SW5_LED14 = signle_LED_rgb_G;
        SW5_LED13 = signle_LED_rgb_R + signle_LED_rgb_G;
        SW5_LED17 = signle_LED_rgb_R;
    } else if(s2+tor<=HP_VR && HP_VR<=s3-tor) {
        //Seg 3
        SW5_LED14 = signle_LED_rgb_G;
        SW5_LED13 = signle_LED_rgb_G;
        SW5_LED17 = signle_LED_rgb_R + signle_LED_rgb_G;
    } else if(s3+tor<=HP_VR && HP_VR<=s4-tor) {
        //Seg 4
        SW5_LED14 = signle_LED_rgb_G;
        SW5_LED13 = signle_LED_rgb_G;
        SW5_LED17 = signle_LED_rgb_G;
    } else if(s4+tor<=HP_VR && HP_VR<=s5-tor) {
        //Seg 5
        SW5_LED14 = signle_LED_rgb_G + signle_LED_rgb_B;
        SW5_LED13 = signle_LED_rgb_G;
        SW5_LED17 = signle_LED_rgb_G;
    } else if(s5+tor<=HP_VR && HP_VR<=s6-tor) {
        //Seg 6
        SW5_LED14 = signle_LED_rgb_B;
        SW5_LED13 = signle_LED_rgb_G + signle_LED_rgb_B;
        SW5_LED17 = signle_LED_rgb_G;
    } else if(s6+tor<=HP_VR && HP_VR<=s7-tor) {
        //Seg 7
        SW5_LED14 = signle_LED_rgb_B;
        SW5_LED13 = signle_LED_rgb_B;
        SW5_LED17 = signle_LED_rgb_G + signle_LED_rgb_B;
    } else if(s7+tor<=HP_VR && HP_VR<=s8-tor) {
        //Seg 8
        SW5_LED14 = signle_LED_rgb_B;
        SW5_LED13 = signle_LED_rgb_B;
        SW5_LED17 = signle_LED_rgb_B;
    } else if(s8+tor<=HP_VR && HP_VR<=s9-tor) {
        //Seg 9
        SW5_LED14 = signle_LED_rgb_G + signle_LED_rgb_B;
        SW5_LED13 = signle_LED_rgb_G + signle_LED_rgb_B;
        SW5_LED17 = signle_LED_rgb_G + signle_LED_rgb_B;
    } else if(s9+tor<=HP_VR) {
        //Seg 10
        SW5_LED14 = signle_LED_rgb_R + signle_LED_rgb_G + signle_LED_rgb_B;
        SW5_LED13 = signle_LED_rgb_R + signle_LED_rgb_G + signle_LED_rgb_B;
        SW5_LED17 = signle_LED_rgb_R + signle_LED_rgb_G + signle_LED_rgb_B;
    }
}

void Task_Preset_LED_GPIO(void) {
    static xu_flag u8PresetLED_Save = {0};

    if(u8PresetLED_Save.u8Byte != u8PresetLED) {
        u8PresetLED_Save.u8Byte = u8PresetLED;
        HAL_GPIO_WritePin(Preset_LED01, u8PresetLED_Save.sb.bit0);
        HAL_GPIO_WritePin(Preset_LED02, u8PresetLED_Save.sb.bit1);
        HAL_GPIO_WritePin(Preset_LED03, u8PresetLED_Save.sb.bit2);
        HAL_GPIO_WritePin(Preset_LED04, u8PresetLED_Save.sb.bit3);
        HAL_GPIO_WritePin(Preset_LED05, u8PresetLED_Save.sb.bit4);
        HAL_GPIO_WritePin(Preset_LED06, u8PresetLED_Save.sb.bit5);
        HAL_GPIO_WritePin(Preset_LED07, u8PresetLED_Save.sb.bit6);
        HAL_GPIO_WritePin(Preset_LED08, u8PresetLED_Save.sb.bit7);
    }
}

unsigned char Task_Button(void) {
    xu_flag xfButton = {0};

    xfButton.sb.bit0 = !HAL_GPIO_ReadPin(Presets_Switch);
    xfButton.sb.bit1 = !HAL_GPIO_ReadPin(Pattern_Switch);
    xfButton.sb.bit2 = !HAL_GPIO_ReadPin(Headphone_Mute);
    xfButton.sb.bit3 = !HAL_GPIO_ReadPin(Mix_Mute);
    xfButton.sb.bit4 = !HAL_GPIO_ReadPin(Mic_Mute);

    return xfButton.u8Byte;
}

/**
  * @brief  Period elapsed callback in non-blocking mode
  * @param  htim TIM handle
  * @retval None
  */
void HAL_TIM_PeriodElapsedCallback(TIM_HandleTypeDef *htim) {
  /* Prevent unused argument(s) compilation warning */
  UNUSED(htim);

  /* NOTE : This function should not be modified, when the callback is needed,
            the HAL_TIM_PeriodElapsedCallback could be implemented in the user file
   */
}

#ifdef __GNUC__
  /* With GCC/RAISONANCE, small printf (option LD Linker->Libraries->Small printf
     set to 'Yes') calls __io_putchar() */
  #define PUTCHAR_PROTOTYPE int __io_putchar(int ch)
#else
  #define PUTCHAR_PROTOTYPE int fputc(int ch, FILE *f)
#endif /* __GNUC__ */

/**
  * @brief  Retargets the C library printf function to the USART.
  * @param  None
  * @retval None
  */
PUTCHAR_PROTOTYPE
{
  /* Place your implementation of fputc here */
  /* e.g. write a character to the EVAL_COM1 and Loop until the end of transmission */

  HAL_UART_Transmit(&huart2, (uint8_t *)&ch, 1, 0xFFFFFFFF);
  return ch;
}

/**
  * @brief  Rx Transfer completed callback.
  * @param  huart UART handle.
  * @retval None
  */
void HAL_UART_RxCpltCallback(UART_HandleTypeDef *huart)
{
  /* Prevent unused argument(s) compilation warning */
  UNUSED(huart);

  /* NOTE : This function should not be modified, when the callback is needed,
            the HAL_UART_RxCpltCallback can be implemented in the user file.
   */
  Rx_Data[Rx_Data_cnt] = Getchar[0];
  Rx_Data_cnt++;

  HAL_UART_Receive_IT(&huart2, Getchar, 1);
}
/* USER CODE END 4 */

void Error_Handler(void)
{
  __disable_irq();
  while (1)
  {
  }
}

/************************ (C) COPYRIGHT STMicroelectronics *****END OF FILE****/
